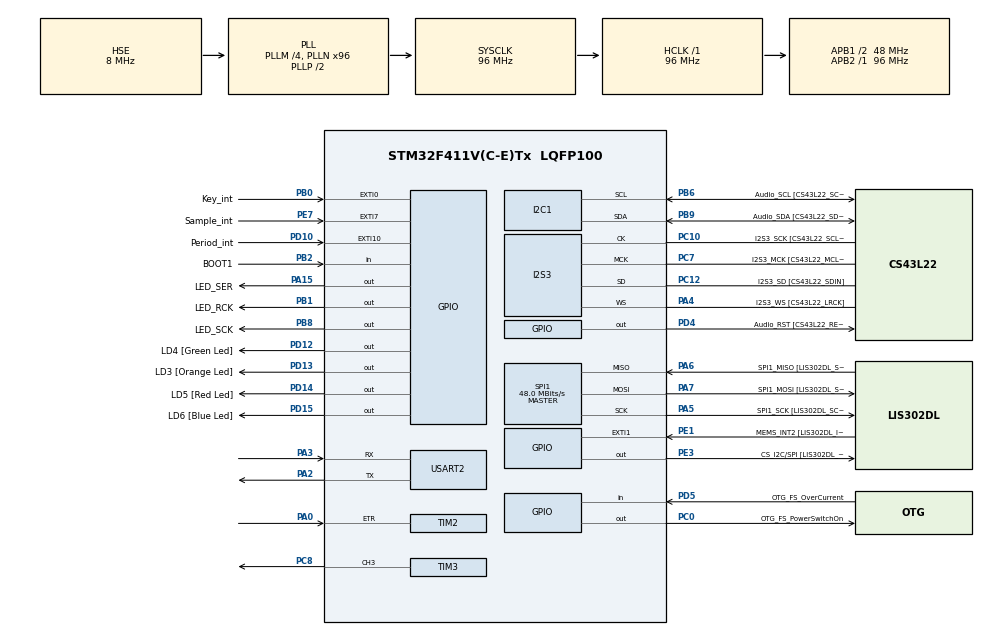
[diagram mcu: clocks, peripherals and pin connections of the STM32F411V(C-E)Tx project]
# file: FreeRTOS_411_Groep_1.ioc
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FREERTOS.INCLUDE_pcTaskGetTaskName=1
FREERTOS.INCLUDE_xEventGroupSetBitFromISR=1
FREERTOS.INCLUDE_xTaskGetHandle=1
FREERTOS.Tasks01=defaultTask,24,128,StartDefaultTask,Default,NULL,Dynamic,NULL,NULL
FREERTOS.configUSE_NEWLIB_REENTRANT=1
I2S3.AudioFreq=I2S_AUDIOFREQ_96K
I2S3.AudioFreq-Half_Duplex_Master=I2S_AUDIOFREQ_96K
I2S3.ErrorAudioFreq=-2.34 %
I2S3.ErrorAudioFreq-Half_Duplex_Master=0.8 %
I2S3.FullDuplexMode=I2S_FULLDUPLEXMODE_DISABLE
I2S3.Instance=SPI$Index
I2S3.RealAudioFreq=93.75 KHz
I2S3.RealAudioFreq-Half_Duplex_Master=96.774 KHz
I2S3.VirtualMode=I2S_MODE_MASTER
Mcu.Family=STM32F4
Mcu.Name=STM32F411V(C-E)Tx
Mcu.Package=LQFP100
NVIC.EXTI0_IRQn=true\:5\:0\:false\:false\:true\:true\:true\:true\:true
NVIC.EXTI15_10_IRQn=true\:5\:0\:false\:false\:true\:true\:true\:true\:true
NVIC.EXTI9_5_IRQn=true\:5\:0\:false\:false\:true\:true\:true\:true\:true
NVIC.PriorityGroup=NVIC_PRIORITYGROUP_4
NVIC.TIM1_UP_TIM10_IRQn=true\:0\:0\:false\:false\:true\:false\:false\:true\:true
NVIC.TimeBase=TIM1_UP_TIM10_IRQn
NVIC.TimeBaseIP=TIM1
NVIC.USART2_IRQn=true\:5\:0\:false\:false\:true\:true\:true\:true\:true
PA0-WKUP.Signal=S_TIM2_CH1_ETR
PA10.GPIO_Label=OTG_FS_ID
PA10.GPIO_Mode=GPIO_MODE_AF_PP
PA10.GPIO_PuPd=GPIO_NOPULL
PA10.GPIO_Speed=GPIO_SPEED_FREQ_LOW
PA10.Signal=USB_OTG_FS_ID
PA11.GPIO_Label=OTG_FS_DM
PA11.GPIO_Mode=GPIO_MODE_AF_PP
PA11.GPIO_PuPd=GPIO_NOPULL
PA11.GPIO_Speed=GPIO_SPEED_FREQ_LOW
PA11.Signal=USB_OTG_FS_DM
PA12.GPIO_Label=OTG_FS_DP
PA12.GPIO_Mode=GPIO_MODE_AF_PP
PA12.GPIO_PuPd=GPIO_NOPULL
PA12.GPIO_Speed=GPIO_SPEED_FREQ_LOW
PA12.Signal=USB_OTG_FS_DP
PA13.GPIO_Label=SWDIO
PA13.Mode=Serial_Wire
PA13.Signal=SYS_JTMS-SWDIO
PA14.GPIO_Label=SWCLK
PA14.Mode=Serial_Wire
PA14.Signal=SYS_JTCK-SWCLK
PA15.GPIO_Label=LED_SER
PA15.Signal=GPIO_Output
PA2.Mode=Asynchronous
PA2.Signal=USART2_TX
PA3.Mode=Asynchronous
PA3.Signal=USART2_RX
PA4.GPIO_Label=I2S3_WS [CS43L22_LRCK]
PA4.GPIO_Mode=GPIO_MODE_AF_PP
PA4.GPIO_PuPd=GPIO_NOPULL
PA4.GPIO_Speed=GPIO_SPEED_FREQ_LOW
PA4.Mode=Half_Duplex_Master
PA4.Signal=I2S3_WS
PA5.GPIO_Label=SPI1_SCK [LIS302DL_SCL/SPC]
PA5.GPIO_Mode=GPIO_MODE_AF_PP
PA5.GPIO_PuPd=GPIO_NOPULL
PA5.GPIO_Speed=GPIO_SPEED_FREQ_LOW
PA5.Mode=Full_Duplex_Master
PA5.Signal=SPI1_SCK
PA6.GPIO_Label=SPI1_MISO [LIS302DL_SDO]
PA6.GPIO_Mode=GPIO_MODE_AF_PP
PA6.GPIO_PuPd=GPIO_NOPULL
PA6.GPIO_Speed=GPIO_SPEED_FREQ_LOW
PA6.Mode=Full_Duplex_Master
PA6.Signal=SPI1_MISO
PA7.GPIO_Label=SPI1_MOSI [LIS302DL_SDA/SDI/SDO]
PA7.GPIO_Mode=GPIO_MODE_AF_PP
PA7.GPIO_PuPd=GPIO_NOPULL
PA7.GPIO_Speed=GPIO_SPEED_FREQ_LOW
PA7.Mode=Full_Duplex_Master
PA7.Signal=SPI1_MOSI
PA9.GPIO_Label=VBUS_FS
PA9.GPIO_Mode=GPIO_MODE_INPUT
PA9.GPIO_PuPd=GPIO_NOPULL
PA9.Signal=USB_OTG_FS_VBUS
PB0.GPIO_Label=Key_int
PB0.Signal=GPXTI0
PB1.GPIO_Label=LED_RCK
PB1.Signal=GPIO_Output
PB10.GPIO_Label=CLK_IN [MP45DT02_CLK]
PB10.GPIO_Mode=GPIO_MODE_AF_PP
PB10.GPIO_PuPd=GPIO_NOPULL
PB10.GPIO_Speed=GPIO_SPEED_FREQ_LOW
PB10.Signal=I2S2_CK
PB2.GPIO_Label=BOOT1
PB2.GPIO_Mode=GPIO_MODE_INPUT
PB2.GPIO_PuPd=GPIO_NOPULL
PB2.Signal=GPIO_Input
PB3.GPIO_Label=SWO
PB3.Signal=SYS_JTDO-SWO
PB6.GPIO_Label=Audio_SCL [CS43L22_SCL]
PB6.GPIO_Mode=GPIO_MODE_AF_OD
PB6.GPIO_Pu=GPIO_PULLUP
PB6.GPIO_PuPd=GPIO_NOPULL
PB6.GPIO_Speed=GPIO_SPEED_FREQ_LOW
PB6.Mode=I2C
PB6.Signal=I2C1_SCL
PB8.GPIO_Label=LED_SCK
PB8.Signal=GPIO_Output
PB9.GPIO_Label=Audio_SDA [CS43L22_SDA]
PB9.GPIO_Mode=GPIO_MODE_AF_OD
PB9.GPIO_Pu=GPIO_PULLUP
PB9.GPIO_PuPd=GPIO_NOPULL
PB9.GPIO_Speed=GPIO_SPEED_FREQ_LOW
PB9.Mode=I2C
PB9.Signal=I2C1_SDA
PC0.GPIO_Label=OTG_FS_PowerSwitchOn
PC0.GPIO_PuPd=GPIO_NOPULL
PC0.GPIO_Speed=GPIO_SPEED_FREQ_LOW
PC0.PinState=GPIO_PIN_SET
PC0.Signal=GPIO_Output
PC10.GPIO_Label=I2S3_SCK [CS43L22_SCLK]
PC10.GPIO_Mode=GPIO_MODE_AF_PP
PC10.GPIO_PuPd=GPIO_NOPULL
PC10.GPIO_Speed=GPIO_SPEED_FREQ_LOW
PC10.Mode=Half_Duplex_Master
PC10.Signal=I2S3_CK
PC12.GPIO_Label=I2S3_SD [CS43L22_SDIN]
PC12.GPIO_Mode=GPIO_MODE_AF_PP
PC12.GPIO_PuPd=GPIO_NOPULL
PC12.GPIO_Speed=GPIO_SPEED_FREQ_LOW
PC12.Mode=Half_Duplex_Master
PC12.Signal=I2S3_SD
PC14-OSC32_IN.GPIO_Label=PC14-OSC32_IN
PC14-OSC32_IN.Mode=LSE-External-Oscillator
PC14-OSC32_IN.Signal=RCC_OSC32_IN
PC15-OSC32_OUT.GPIO_Label=PC15-OSC32_OUT
PC15-OSC32_OUT.Mode=LSE-External-Oscillator
PC15-OSC32_OUT.Signal=RCC_OSC32_OUT
PC3.GPIO_Label=PDM_OUT [MP45DT02_DOUT]
PC3.GPIO_Mode=GPIO_MODE_AF_PP
PC3.GPIO_PuPd=GPIO_NOPULL
PC3.GPIO_Speed=GPIO_SPEED_FREQ_LOW
PC3.Signal=I2S2_SD
PC7.GPIO_Label=I2S3_MCK [CS43L22_MCLK]
PC7.GPIO_Mode=GPIO_MODE_AF_PP
PC7.GPIO_PuPd=GPIO_NOPULL
PC7.GPIO_Speed=GPIO_SPEED_FREQ_LOW
PC7.Mode=Master_Clock_Activated
PC7.Signal=I2S3_MCK
PC8.Signal=S_TIM3_CH3
PD10.GPIO_Label=Period_int
PD10.Signal=GPXTI10
PD12.GPIO_Label=LD4 [Green Led]
PD12.GPIO_PuPd=GPIO_NOPULL
PD12.GPIO_Speed=GPIO_SPEED_FREQ_LOW
PD12.Signal=GPIO_Output
PD13.GPIO_Label=LD3 [Orange Led]
PD13.GPIO_PuPd=GPIO_NOPULL
PD13.GPIO_Speed=GPIO_SPEED_FREQ_LOW
PD13.Signal=GPIO_Output
PD14.GPIO_Label=LD5 [Red Led]
PD14.GPIO_PuPd=GPIO_NOPULL
PD14.GPIO_Speed=GPIO_SPEED_FREQ_LOW
PD14.Signal=GPIO_Output
PD15.GPIO_Label=LD6 [Blue Led]
PD15.GPIO_PuPd=GPIO_NOPULL
PD15.GPIO_Speed=GPIO_SPEED_FREQ_LOW
PD15.Signal=GPIO_Output
PD4.GPIO_Label=Audio_RST [CS43L22_RESET]
PD4.GPIO_PuPd=GPIO_NOPULL
PD4.GPIO_Speed=GPIO_SPEED_FREQ_LOW
PD4.Signal=GPIO_Output
PD5.GPIO_Label=OTG_FS_OverCurrent
PD5.GPIO_Mode=GPIO_MODE_INPUT
PD5.GPIO_PuPd=GPIO_NOPULL
PD5.Signal=GPIO_Input
PE1.GPIO_Label=MEMS_INT2 [LIS302DL_INT2]
PE1.GPIO_ModeDefaultEXTI=GPIO_MODE_EVT_RISING
PE1.GPIO_PuPd=GPIO_NOPULL
PE1.Signal=GPXTI1
PE3.GPIO_Label=CS_I2C/SPI [LIS302DL_CS_I2C/SPI]
PE3.GPIO_PuPd=GPIO_NOPULL
PE3.GPIO_Speed=GPIO_SPEED_FREQ_LOW
PE3.Signal=GPIO_Output
PE7.GPIO_Label=Sample_int
PE7.Signal=GPXTI7
PH0\ -\ OSC_IN.GPIO_Label=PH0-OSC_IN
PH0\ -\ OSC_IN.Mode=HSE-External-Oscillator
PH0\ -\ OSC_IN.Signal=RCC_OSC_IN
PH1\ -\ OSC_OUT.GPIO_Label=PH1-OSC_OUT
PH1\ -\ OSC_OUT.Mode=HSE-External-Oscillator
PH1\ -\ OSC_OUT.Signal=RCC_OSC_OUT
ProjectManager.HeapSize=0x200
ProjectManager.StackSize=0x400
ProjectManager.TargetToolchain=STM32CubeIDE
RCC.48MHZClocksFreq_Value=48000000
RCC.AHBFreq_Value=96000000
RCC.APB1CLKDivider=RCC_HCLK_DIV2
RCC.APB1Freq_Value=48000000
RCC.APB1TimFreq_Value=96000000
RCC.APB2Freq_Value=96000000
RCC.APB2TimFreq_Value=96000000
RCC.CortexFreq_Value=96000000
RCC.HCLKFreq_Value=96000000
RCC.HSE_VALUE=8000000
RCC.HSI_VALUE=16000000
RCC.PLLI2SM=4
RCC.PLLM=4
RCC.PLLN=96
RCC.PLLSourceVirtual=RCC_PLLSOURCE_HSE
RCC.SYSCLKFreq_VALUE=96000000
RCC.SYSCLKSource=RCC_SYSCLKSOURCE_PLLCLK
RCC.VCOOutputFreq_Value=192000000
SH.S_TIM2_CH1_ETR.0=TIM2_ETR,TriggerSource_ETR
SH.S_TIM3_CH3.0=TIM3_CH3,PWM Generation3 CH3
SPI1.BaudRatePrescaler-Full_Duplex_Master=SPI_BAUDRATEPRESCALER_2
SPI1.CalculateBaudRate=48.0 MBits/s
SPI1.CalculateBaudRate-Full_Duplex_Master=42.0 MBits/s
SPI1.Direction=SPI_DIRECTION_2LINES
SPI1.Mode=SPI_MODE_MASTER
SPI1.Mode-Full_Duplex_Master=SPI_MODE_MASTER
SPI1.VirtualType=VM_MASTER
TIM3.Channel-PWM\ Generation3\ CH3=TIM_CHANNEL_3
TIM3.Period=100
TIM3.Prescaler=96-1
TIM4.Prescaler=96-1
USART2.VirtualMode=VM_ASYNC
VP_FREERTOS_VS_CMSIS_V2.Mode=CMSIS_V2
VP_SYS_VS_tim1.Mode=TIM1
VP_TIM2_VS_ControllerModeClock.Mode=Clock Mode
VP_TIM3_VS_ClockSourceINT.Mode=Internal
VP_TIM4_VS_ClockSourceINT.Mode=Internal
board=custom

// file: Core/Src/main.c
/* USER CODE BEGIN Header */
/**
  ******************************************************************************
  * @file           : main.c
  * @brief          : Main program body
  ******************************************************************************
  * @attention Het grootste deel van deze main.c wordt gegenereerd door STM.
  * Eigen code bevindt zich op 'gereserveerde' plekken, wees daar voorzichtig mee.
  * Om deze reden heb ik zo min mogelijk 'eigen code' toegevoegd.
  *
  * <h2><center>&copy; Copyright (c) 2021 STMicroelectronics.
  * All rights reserved.</center></h2>
  *
  * This software component is licensed by ST under Ultimate Liberty license
  * SLA0044, the "License"; You may not use this file except in compliance with
  * the License. You may obtain a copy of the License at:
  *                             www.st.com/SLA0044
  *
  ******************************************************************************
  */
/* USER CODE END Header */
#include "main.h"
#include "cmsis_os.h"

/* USER CODE BEGIN Includes */
#include "my_app.h"

/* USER CODE END Includes */

I2C_HandleTypeDef hi2c1;

I2S_HandleTypeDef hi2s3;

SPI_HandleTypeDef hspi1;

TIM_HandleTypeDef htim2;
TIM_HandleTypeDef htim3;
TIM_HandleTypeDef htim4;

UART_HandleTypeDef huart2;

/* Definitions for defaultTask */
osThreadId_t defaultTaskHandle;
const osThreadAttr_t defaultTask_attributes = {
  .name = "defaultTask",
  .stack_size = 128 * 4,
  .priority = (osPriority_t) osPriorityNormal,
};

void SystemClock_Config(void);
static void MX_GPIO_Init(void);
static void MX_I2C1_Init(void);
static void MX_I2S3_Init(void);
static void MX_SPI1_Init(void);
static void MX_USART2_UART_Init(void);
static void MX_TIM3_Init(void);
static void MX_TIM2_Init(void);
static void MX_TIM4_Init(void);
void StartDefaultTask(void *argument);

int main(void)
{
  /* USER CODE BEGIN 1 */
  unsigned char byte;
  /* USER CODE END 1 */

  /* MCU Configuration--------------------------------------------------------*/

  /* Reset of all peripherals, Initializes the Flash interface and the Systick. */
  HAL_Init();

  /* Configure the system clock */
  SystemClock_Config();

  /* Initialize all configured peripherals */
  MX_GPIO_Init();
  MX_I2C1_Init();
  MX_I2S3_Init();
  MX_SPI1_Init();
  MX_USART2_UART_Init();
  MX_TIM3_Init();
  MX_TIM2_Init();
  MX_TIM4_Init();
  /* USER CODE BEGIN 2 */

  LCD_init();
  KEYS_init();
  KEYS_initISR(1); // set all lines high once
  LED_init();
  HAL_TIM_Base_Start(&htim2);
  HAL_TIM_Base_Start(&htim4);

  HAL_UART_Receive_IT(&huart2, &byte, 1); //start the UART interrupt engine
  UART_putint(byte); UART_puts("\r\n"); // deze byte is nog een bug.

  DisplayVersion();
  osDelay(500); // time to read version

  // Initialising speaker output
  Speaker_Init();

  // Calculate sending speed
  Speed_init(SAMPLE_DELAY);
  /* USER CODE END 2 */

  /* Init scheduler */
  osKernelInitialize();

  /* Create the thread(s) */
  /* creation of defaultTask */
  defaultTaskHandle = osThreadNew(StartDefaultTask, NULL, &defaultTask_attributes);

  /* Start scheduler */
  osKernelStart();

  /* We should never get here as control is now taken by the scheduler */
  /* Infinite loop */
  while (1)
  {

  }
}

void SystemClock_Config(void)
{
  RCC_OscInitTypeDef RCC_OscInitStruct = {0};
  RCC_ClkInitTypeDef RCC_ClkInitStruct = {0};

  /** Configure the main internal regulator output voltage
  */
  __HAL_RCC_PWR_CLK_ENABLE();
  __HAL_PWR_VOLTAGESCALING_CONFIG(PWR_REGULATOR_VOLTAGE_SCALE1);

  /** Initializes the RCC Oscillators according to the specified parameters
  * in the RCC_OscInitTypeDef structure.
  */
  RCC_OscInitStruct.OscillatorType = RCC_OSCILLATORTYPE_HSE;
  RCC_OscInitStruct.HSEState = RCC_HSE_ON;
  RCC_OscInitStruct.PLL.PLLState = RCC_PLL_ON;
  RCC_OscInitStruct.PLL.PLLSource = RCC_PLLSOURCE_HSE;
  RCC_OscInitStruct.PLL.PLLM = 4;
  RCC_OscInitStruct.PLL.PLLN = 96;
  RCC_OscInitStruct.PLL.PLLP = RCC_PLLP_DIV2;
  RCC_OscInitStruct.PLL.PLLQ = 4;
  if (HAL_RCC_OscConfig(&RCC_OscInitStruct) != HAL_OK)
  {
    Error_Handler();
  }

  /** Initializes the CPU, AHB and APB buses clocks
  */
  RCC_ClkInitStruct.ClockType = RCC_CLOCKTYPE_HCLK|RCC_CLOCKTYPE_SYSCLK
                              |RCC_CLOCKTYPE_PCLK1|RCC_CLOCKTYPE_PCLK2;
  RCC_ClkInitStruct.SYSCLKSource = RCC_SYSCLKSOURCE_PLLCLK;
  RCC_ClkInitStruct.AHBCLKDivider = RCC_SYSCLK_DIV1;
  RCC_ClkInitStruct.APB1CLKDivider = RCC_HCLK_DIV2;
  RCC_ClkInitStruct.APB2CLKDivider = RCC_HCLK_DIV1;

  if (HAL_RCC_ClockConfig(&RCC_ClkInitStruct, FLASH_LATENCY_3) != HAL_OK)
  {
    Error_Handler();
  }
}

static void MX_I2C1_Init(void)
{

  hi2c1.Instance = I2C1;
  hi2c1.Init.ClockSpeed = 100000;
  hi2c1.Init.DutyCycle = I2C_DUTYCYCLE_2;
  hi2c1.Init.OwnAddress1 = 0;
  hi2c1.Init.AddressingMode = I2C_ADDRESSINGMODE_7BIT;
  hi2c1.Init.DualAddressMode = I2C_DUALADDRESS_DISABLE;
  hi2c1.Init.OwnAddress2 = 0;
  hi2c1.Init.GeneralCallMode = I2C_GENERALCALL_DISABLE;
  hi2c1.Init.NoStretchMode = I2C_NOSTRETCH_DISABLE;
  if (HAL_I2C_Init(&hi2c1) != HAL_OK)
  {
    Error_Handler();
  }

}

static void MX_I2S3_Init(void)
{

  hi2s3.Instance = SPI3;
  hi2s3.Init.Mode = I2S_MODE_MASTER_TX;
  hi2s3.Init.Standard = I2S_STANDARD_PHILIPS;
  hi2s3.Init.DataFormat = I2S_DATAFORMAT_16B;
  hi2s3.Init.MCLKOutput = I2S_MCLKOUTPUT_ENABLE;
  hi2s3.Init.AudioFreq = I2S_AUDIOFREQ_96K;
  hi2s3.Init.CPOL = I2S_CPOL_LOW;
  hi2s3.Init.ClockSource = I2S_CLOCK_PLL;
  hi2s3.Init.FullDuplexMode = I2S_FULLDUPLEXMODE_DISABLE;
  if (HAL_I2S_Init(&hi2s3) != HAL_OK)
  {
    Error_Handler();
  }

}

static void MX_SPI1_Init(void)
{

  /* SPI1 parameter configuration*/
  hspi1.Instance = SPI1;
  hspi1.Init.Mode = SPI_MODE_MASTER;
  hspi1.Init.Direction = SPI_DIRECTION_2LINES;
  hspi1.Init.DataSize = SPI_DATASIZE_8BIT;
  hspi1.Init.CLKPolarity = SPI_POLARITY_LOW;
  hspi1.Init.CLKPhase = SPI_PHASE_1EDGE;
  hspi1.Init.NSS = SPI_NSS_SOFT;
  hspi1.Init.BaudRatePrescaler = SPI_BAUDRATEPRESCALER_2;
  hspi1.Init.FirstBit = SPI_FIRSTBIT_MSB;
  hspi1.Init.TIMode = SPI_TIMODE_DISABLE;
  hspi1.Init.CRCCalculation = SPI_CRCCALCULATION_DISABLE;
  hspi1.Init.CRCPolynomial = 10;
  if (HAL_SPI_Init(&hspi1) != HAL_OK)
  {
    Error_Handler();
  }

}

static void MX_TIM2_Init(void)
{

  TIM_SlaveConfigTypeDef sSlaveConfig = {0};
  TIM_MasterConfigTypeDef sMasterConfig = {0};

  htim2.Instance = TIM2;
  htim2.Init.Prescaler = 0;
  htim2.Init.CounterMode = TIM_COUNTERMODE_UP;
  htim2.Init.Period = 4294967295;
  htim2.Init.ClockDivision = TIM_CLOCKDIVISION_DIV1;
  htim2.Init.AutoReloadPreload = TIM_AUTORELOAD_PRELOAD_DISABLE;
  if (HAL_TIM_Base_Init(&htim2) != HAL_OK)
  {
    Error_Handler();
  }
  sSlaveConfig.SlaveMode = TIM_SLAVEMODE_EXTERNAL1;
  sSlaveConfig.InputTrigger = TIM_TS_ETRF;
  sSlaveConfig.TriggerPolarity = TIM_TRIGGERPOLARITY_NONINVERTED;
  sSlaveConfig.TriggerPrescaler = TIM_TRIGGERPRESCALER_DIV1;
  sSlaveConfig.TriggerFilter = 0;
  if (HAL_TIM_SlaveConfigSynchro(&htim2, &sSlaveConfig) != HAL_OK)
  {
    Error_Handler();
  }
  sMasterConfig.MasterOutputTrigger = TIM_TRGO_RESET;
  sMasterConfig.MasterSlaveMode = TIM_MASTERSLAVEMODE_DISABLE;
  if (HAL_TIMEx_MasterConfigSynchronization(&htim2, &sMasterConfig) != HAL_OK)
  {
    Error_Handler();
  }

}

static void MX_TIM3_Init(void)
{

  TIM_ClockConfigTypeDef sClockSourceConfig = {0};
  TIM_MasterConfigTypeDef sMasterConfig = {0};
  TIM_OC_InitTypeDef sConfigOC = {0};

  htim3.Instance = TIM3;
  htim3.Init.Prescaler = 96-1;
  htim3.Init.CounterMode = TIM_COUNTERMODE_UP;
  htim3.Init.Period = 100;
  htim3.Init.ClockDivision = TIM_CLOCKDIVISION_DIV1;
  htim3.Init.AutoReloadPreload = TIM_AUTORELOAD_PRELOAD_DISABLE;
  if (HAL_TIM_Base_Init(&htim3) != HAL_OK)
  {
    Error_Handler();
  }
  sClockSourceConfig.ClockSource = TIM_CLOCKSOURCE_INTERNAL;
  if (HAL_TIM_ConfigClockSource(&htim3, &sClockSourceConfig) != HAL_OK)
  {
    Error_Handler();
  }
  if (HAL_TIM_PWM_Init(&htim3) != HAL_OK)
  {
    Error_Handler();
  }
  sMasterConfig.MasterOutputTrigger = TIM_TRGO_RESET;
  sMasterConfig.MasterSlaveMode = TIM_MASTERSLAVEMODE_DISABLE;
  if (HAL_TIMEx_MasterConfigSynchronization(&htim3, &sMasterConfig) != HAL_OK)
  {
    Error_Handler();
  }
  sConfigOC.OCMode = TIM_OCMODE_PWM1;
  sConfigOC.Pulse = 0;
  sConfigOC.OCPolarity = TIM_OCPOLARITY_HIGH;
  sConfigOC.OCFastMode = TIM_OCFAST_DISABLE;
  if (HAL_TIM_PWM_ConfigChannel(&htim3, &sConfigOC, TIM_CHANNEL_3) != HAL_OK)
  {
    Error_Handler();
  }
  HAL_TIM_MspPostInit(&htim3);

}

static void MX_TIM4_Init(void)
{

  TIM_ClockConfigTypeDef sClockSourceConfig = {0};
  TIM_MasterConfigTypeDef sMasterConfig = {0};

  htim4.Instance = TIM4;
  htim4.Init.Prescaler = 96-1;
  htim4.Init.CounterMode = TIM_COUNTERMODE_UP;
  htim4.Init.Period = 65535;
  htim4.Init.ClockDivision = TIM_CLOCKDIVISION_DIV1;
  htim4.Init.AutoReloadPreload = TIM_AUTORELOAD_PRELOAD_DISABLE;
  if (HAL_TIM_Base_Init(&htim4) != HAL_OK)
  {
    Error_Handler();
  }
  sClockSourceConfig.ClockSource = TIM_CLOCKSOURCE_INTERNAL;
  if (HAL_TIM_ConfigClockSource(&htim4, &sClockSourceConfig) != HAL_OK)
  {
    Error_Handler();
  }
  sMasterConfig.MasterOutputTrigger = TIM_TRGO_RESET;
  sMasterConfig.MasterSlaveMode = TIM_MASTERSLAVEMODE_DISABLE;
  if (HAL_TIMEx_MasterConfigSynchronization(&htim4, &sMasterConfig) != HAL_OK)
  {
    Error_Handler();
  }

}

static void MX_USART2_UART_Init(void)
{

  huart2.Instance = USART2;
  huart2.Init.BaudRate = 115200;
  huart2.Init.WordLength = UART_WORDLENGTH_8B;
  huart2.Init.StopBits = UART_STOPBITS_1;
  huart2.Init.Parity = UART_PARITY_NONE;
  huart2.Init.Mode = UART_MODE_TX_RX;
  huart2.Init.HwFlowCtl = UART_HWCONTROL_NONE;
  huart2.Init.OverSampling = UART_OVERSAMPLING_16;
  if (HAL_UART_Init(&huart2) != HAL_OK)
  {
    Error_Handler();
  }

}

static void MX_GPIO_Init(void)
{
  GPIO_InitTypeDef GPIO_InitStruct = {0};

  /* GPIO Ports Clock Enable */
  __HAL_RCC_GPIOE_CLK_ENABLE();
  __HAL_RCC_GPIOC_CLK_ENABLE();
  __HAL_RCC_GPIOH_CLK_ENABLE();
  __HAL_RCC_GPIOA_CLK_ENABLE();
  __HAL_RCC_GPIOB_CLK_ENABLE();
  __HAL_RCC_GPIOD_CLK_ENABLE();

  /*Configure GPIO pin Output Level */
  HAL_GPIO_WritePin(CS_I2C_SPI_GPIO_Port, CS_I2C_SPI_Pin, GPIO_PIN_RESET);

  /*Configure GPIO pin Output Level */
  HAL_GPIO_WritePin(OTG_FS_PowerSwitchOn_GPIO_Port, OTG_FS_PowerSwitchOn_Pin, GPIO_PIN_SET);

  /*Configure GPIO pin Output Level */
  HAL_GPIO_WritePin(GPIOB, LED_RCK_Pin|LED_SCK_Pin, GPIO_PIN_RESET);

  /*Configure GPIO pin Output Level */
  HAL_GPIO_WritePin(GPIOD, LD4_Pin|LD3_Pin|LD5_Pin|LD6_Pin
                          |Audio_RST_Pin, GPIO_PIN_RESET);

  /*Configure GPIO pin Output Level */
  HAL_GPIO_WritePin(LED_SER_GPIO_Port, LED_SER_Pin, GPIO_PIN_RESET);

  /*Configure GPIO pin : CS_I2C_SPI_Pin */
  GPIO_InitStruct.Pin = CS_I2C_SPI_Pin;
  GPIO_InitStruct.Mode = GPIO_MODE_OUTPUT_PP;
  GPIO_InitStruct.Pull = GPIO_NOPULL;
  GPIO_InitStruct.Speed = GPIO_SPEED_FREQ_LOW;
  HAL_GPIO_Init(CS_I2C_SPI_GPIO_Port, &GPIO_InitStruct);

  /*Configure GPIO pin : OTG_FS_PowerSwitchOn_Pin */
  GPIO_InitStruct.Pin = OTG_FS_PowerSwitchOn_Pin;
  GPIO_InitStruct.Mode = GPIO_MODE_OUTPUT_PP;
  GPIO_InitStruct.Pull = GPIO_NOPULL;
  GPIO_InitStruct.Speed = GPIO_SPEED_FREQ_LOW;
  HAL_GPIO_Init(OTG_FS_PowerSwitchOn_GPIO_Port, &GPIO_InitStruct);

  /*Configure GPIO pin : PDM_OUT_Pin */
  GPIO_InitStruct.Pin = PDM_OUT_Pin;
  GPIO_InitStruct.Mode = GPIO_MODE_AF_PP;
  GPIO_InitStruct.Pull = GPIO_NOPULL;
  GPIO_InitStruct.Speed = GPIO_SPEED_FREQ_LOW;
  GPIO_InitStruct.Alternate = GPIO_AF5_SPI2;
  HAL_GPIO_Init(PDM_OUT_GPIO_Port, &GPIO_InitStruct);

  /*Configure GPIO pin : Key_int_Pin */
  GPIO_InitStruct.Pin = Key_int_Pin;
  GPIO_InitStruct.Mode = GPIO_MODE_IT_RISING;
  GPIO_InitStruct.Pull = GPIO_NOPULL;
  HAL_GPIO_Init(Key_int_GPIO_Port, &GPIO_InitStruct);

  /*Configure GPIO pins : LED_RCK_Pin LED_SCK_Pin */
  GPIO_InitStruct.Pin = LED_RCK_Pin|LED_SCK_Pin;
  GPIO_InitStruct.Mode = GPIO_MODE_OUTPUT_PP;
  GPIO_InitStruct.Pull = GPIO_NOPULL;
  GPIO_InitStruct.Speed = GPIO_SPEED_FREQ_LOW;
  HAL_GPIO_Init(GPIOB, &GPIO_InitStruct);

  /*Configure GPIO pin : BOOT1_Pin */
  GPIO_InitStruct.Pin = BOOT1_Pin;
  GPIO_InitStruct.Mode = GPIO_MODE_INPUT;
  GPIO_InitStruct.Pull = GPIO_NOPULL;
  HAL_GPIO_Init(BOOT1_GPIO_Port, &GPIO_InitStruct);

  /*Configure GPIO pin : Sample_int_Pin */
  GPIO_InitStruct.Pin = Sample_int_Pin;
  GPIO_InitStruct.Mode = GPIO_MODE_IT_RISING;
  GPIO_InitStruct.Pull = GPIO_NOPULL;
  HAL_GPIO_Init(Sample_int_GPIO_Port, &GPIO_InitStruct);

  /*Configure GPIO pin : CLK_IN_Pin */
  GPIO_InitStruct.Pin = CLK_IN_Pin;
  GPIO_InitStruct.Mode = GPIO_MODE_AF_PP;
  GPIO_InitStruct.Pull = GPIO_NOPULL;
  GPIO_InitStruct.Speed = GPIO_SPEED_FREQ_LOW;
  GPIO_InitStruct.Alternate = GPIO_AF5_SPI2;
  HAL_GPIO_Init(CLK_IN_GPIO_Port, &GPIO_InitStruct);

  /*Configure GPIO pin : Period_int_Pin */
  GPIO_InitStruct.Pin = Period_int_Pin;
  GPIO_InitStruct.Mode = GPIO_MODE_IT_RISING;
  GPIO_InitStruct.Pull = GPIO_NOPULL;
  HAL_GPIO_Init(Period_int_GPIO_Port, &GPIO_InitStruct);

  /*Configure GPIO pins : LD4_Pin LD3_Pin LD5_Pin LD6_Pin
                           Audio_RST_Pin */
  GPIO_InitStruct.Pin = LD4_Pin|LD3_Pin|LD5_Pin|LD6_Pin
                          |Audio_RST_Pin;
  GPIO_InitStruct.Mode = GPIO_MODE_OUTPUT_PP;
  GPIO_InitStruct.Pull = GPIO_NOPULL;
  GPIO_InitStruct.Speed = GPIO_SPEED_FREQ_LOW;
  HAL_GPIO_Init(GPIOD, &GPIO_InitStruct);

  /*Configure GPIO pin : VBUS_FS_Pin */
  GPIO_InitStruct.Pin = VBUS_FS_Pin;
  GPIO_InitStruct.Mode = GPIO_MODE_INPUT;
  GPIO_InitStruct.Pull = GPIO_NOPULL;
  HAL_GPIO_Init(VBUS_FS_GPIO_Port, &GPIO_InitStruct);

  /*Configure GPIO pins : OTG_FS_ID_Pin OTG_FS_DM_Pin OTG_FS_DP_Pin */
  GPIO_InitStruct.Pin = OTG_FS_ID_Pin|OTG_FS_DM_Pin|OTG_FS_DP_Pin;
  GPIO_InitStruct.Mode = GPIO_MODE_AF_PP;
  GPIO_InitStruct.Pull = GPIO_NOPULL;
  GPIO_InitStruct.Speed = GPIO_SPEED_FREQ_LOW;
  GPIO_InitStruct.Alternate = GPIO_AF10_OTG_FS;
  HAL_GPIO_Init(GPIOA, &GPIO_InitStruct);

  /*Configure GPIO pin : LED_SER_Pin */
  GPIO_InitStruct.Pin = LED_SER_Pin;
  GPIO_InitStruct.Mode = GPIO_MODE_OUTPUT_PP;
  GPIO_InitStruct.Pull = GPIO_NOPULL;
  GPIO_InitStruct.Speed = GPIO_SPEED_FREQ_LOW;
  HAL_GPIO_Init(LED_SER_GPIO_Port, &GPIO_InitStruct);

  /*Configure GPIO pin : OTG_FS_OverCurrent_Pin */
  GPIO_InitStruct.Pin = OTG_FS_OverCurrent_Pin;
  GPIO_InitStruct.Mode = GPIO_MODE_INPUT;
  GPIO_InitStruct.Pull = GPIO_NOPULL;
  HAL_GPIO_Init(OTG_FS_OverCurrent_GPIO_Port, &GPIO_InitStruct);

  /*Configure GPIO pin : MEMS_INT2_Pin */
  GPIO_InitStruct.Pin = MEMS_INT2_Pin;
  GPIO_InitStruct.Mode = GPIO_MODE_EVT_RISING;
  GPIO_InitStruct.Pull = GPIO_NOPULL;
  HAL_GPIO_Init(MEMS_INT2_GPIO_Port, &GPIO_InitStruct);

  /* EXTI interrupt init*/
  HAL_NVIC_SetPriority(EXTI0_IRQn, 5, 0);
  HAL_NVIC_EnableIRQ(EXTI0_IRQn);

  HAL_NVIC_SetPriority(EXTI9_5_IRQn, 5, 0);
  HAL_NVIC_EnableIRQ(EXTI9_5_IRQn);

  HAL_NVIC_SetPriority(EXTI15_10_IRQn, 5, 0);
  HAL_NVIC_EnableIRQ(EXTI15_10_IRQn);

}

/* USER CODE BEGIN 4 */

/* only used in UART interrupt mode. Now configured as local UART echo*/

/**
  * @brief  ISR die UART-characters op een Queue zet. De core-functie wordt gegenereerd.
  * <p>Demonstreert: xQueueSendFromISR(); portYIELD_FROM_ISR();</p>
  * @param huart
  * @return void.
  */
void HAL_UART_RxCpltCallback(UART_HandleTypeDef *huart)
{
	unsigned char uart_char;
	BaseType_t    xHigherPriorityTaskWoken = pdFALSE;

	if (huart->Instance == USART2)
	{
		/// Receive one byte in interrupt mode
		HAL_UART_Receive_IT(&huart2, &uart_char, 1);

		/// Zet de byte op de UART_queue
		xQueueSendFromISR(hUART_Queue, &uart_char, &xHigherPriorityTaskWoken);
		if (xHigherPriorityTaskWoken != pdFALSE)
			portYIELD_FROM_ISR(xHigherPriorityTaskWoken); // force context switch
	}
}

/* USER CODE END 4 */

void StartDefaultTask(void *argument)
{
  /* USER CODE BEGIN 5 */

  CreateHandles();
  CreateTasks();
  GetName();

  /* Infinite loop */
  for(;;)
  {
    osDelay(1);
    vTaskDelete(defaultTaskHandle); // remove this default task
  }
  /* USER CODE END 5 */
}

void HAL_TIM_PeriodElapsedCallback(TIM_HandleTypeDef *htim)
{
  if (htim->Instance == TIM1) {
    HAL_IncTick();
  }
}

void Error_Handler(void)
{
  __disable_irq();
  while (1)
  {
  }
}
